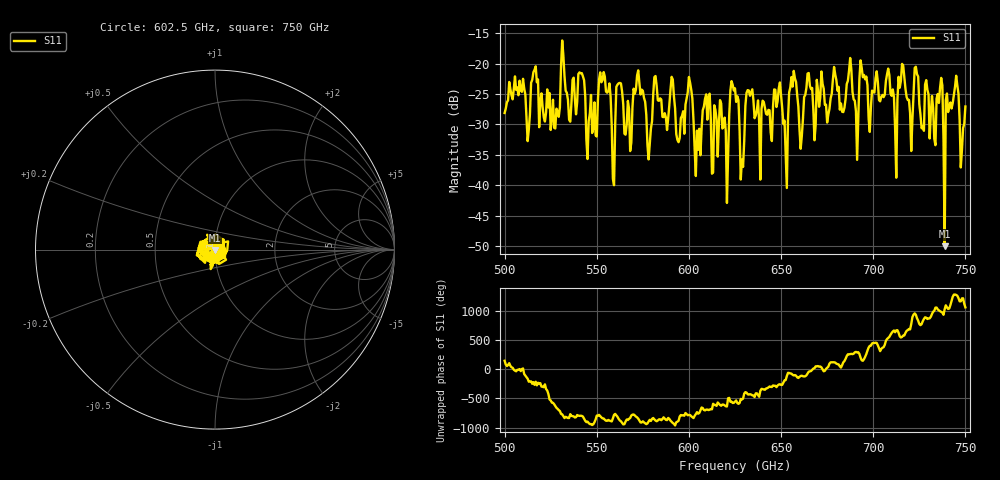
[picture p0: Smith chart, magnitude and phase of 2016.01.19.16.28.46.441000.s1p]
!Created with skrf (http://scikit-rf.org).
# GHz S RI R 50.0
!freq ReS11 ImS11
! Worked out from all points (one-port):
!   401 points, 500 GHz to 750 GHz, reference 50 ohm
!   lowest |S11| = -50.0 dB at 738.8 GHz (marker M1), VSWR 1.01, Z = 50.2 - j0.261 ohm
!   |S11| at or under -10 dB: start of sweep to end of sweep
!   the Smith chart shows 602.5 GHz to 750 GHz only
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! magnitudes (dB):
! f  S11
! 500 GHz  -28.1
! 516.9 GHz  -20.5
! 528.1 GHz  -27.4
! 531.2 GHz  -16.2
! 545 GHz  -35.7
! 553.1 GHz  -22.8
! 558.8 GHz  -39.0
! 562.5 GHz  -23.2
! 591.2 GHz  -22.6
! 593.8 GHz  -32.6
! 600.6 GHz  -23.1
! 603.8 GHz  -38.5
! 610 GHz  -29.2
! 620 GHz  -31.1
! 625 GHz  -24.1
! 628.8 GHz  -35.8
! 632.5 GHz  -24.4
! 649.4 GHz  -23.1
! 652.5 GHz  -35.0
! 656.2 GHz  -23.8
! 660.6 GHz  -34.0
! 687.5 GHz  -19.1
! 690.6 GHz  -27.9
! 693.8 GHz  -20.7
! 718.8 GHz  -26.0
! 736.2 GHz  -24.0
! 738.8 GHz  -50.0
! 750 GHz  -27.1
